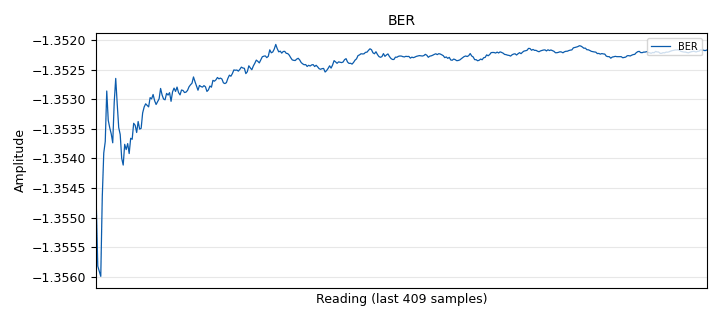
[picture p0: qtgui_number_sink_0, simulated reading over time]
options:
  parameters:
    author: AA
    category: Custom
    description: gnuradio flow graph
    generate_options: qt_gui
    id: viterbi_equalization
    output_language: python
    title: Viterbi Equalization
  states: {}

blocks:
- name: Es
  id: variable
  parameters:
    value: numpy.mean((numpy.square(numpy.abs(tot_mod[1]))))
  states: {}
- name: EsN0_dB
  id: variable_qtgui_range
  parameters:
    label: Es/N0 (dB)
    orient: QtCore.Qt.Orientation.Horizontal
    start: '-10'
    step: '1'
    stop: '30'
    value: '2'
  states: {}
- name: R
  id: variable
  parameters:
    value: 100e3
  states: {}
- name: block
  id: variable
  parameters:
    value: bpsym*1000
  states: {}
- name: bpsym
  id: variable
  parameters:
    value: int(round(math.log(fsm.I())/math.log(2)))
  states: {}
- name: channel
  id: variable
  parameters:
    value: fu.c_channel
  states: {}
- name: fsm
  id: variable
  parameters:
    value: trellis.fsm(len(modulation[1]),len(channel))
  states: {}
- name: modulation
  id: variable
  parameters:
    value: fu.pam4
  states: {}
- name: noisevar
  id: variable
  parameters:
    value: 10**(-EsN0_dB/10.0)  * Es   /2.0
  states: {}
- name: tot_mod
  id: variable
  parameters:
    value: fu.make_isi_lookup(modulation,channel,False)
  states: {}
- name: analog_noise_source_x_0
  id: analog_noise_source_x
  parameters:
    amp: noisevar**0.5
    noise_type: analog.GR_GAUSSIAN
    seed: '-42'
    type: float
  states: {}
- name: analog_random_source_x_0
  id: analog_random_source_x
  parameters:
    max: '2'
    min: '0'
    num_samps: '1007'
    repeat: 'True'
    type: byte
  states: {}
- name: blocks_add_xx_1
  id: blocks_add_xx
  parameters:
    type: float
  states: {}
- name: blocks_null_sink_1
  id: blocks_null_sink
  parameters:
    type: float
  states: {}
- name: blocks_pack_k_bits_bb_0
  id: blocks_pack_k_bits_bb
  parameters:
    k: bpsym
  states: {}
- name: blocks_throttle_0
  id: blocks_throttle
  parameters:
    samples_per_second: R
    type: byte
  states: {}
- name: blocks_unpack_k_bits_bb_0
  id: blocks_unpack_k_bits_bb
  parameters:
    k: bpsym
  states: {}
- name: digital_chunks_to_symbols_xx_0
  id: digital_chunks_to_symbols_xx
  parameters:
    dimension: tot_mod[0]
    in_type: short
    out_type: float
    symbol_table: tot_mod[1]
  states: {state: disabled}
- name: digital_chunks_to_symbols_xx_0_0
  id: digital_chunks_to_symbols_xx
  parameters:
    dimension: modulation[0]
    in_type: byte
    out_type: float
    symbol_table: modulation[1]
  states: {}
- name: fec_ber_bf_0
  id: fec_ber_bf
  parameters:
    test_mode: 'False'
  states: {}
- name: fir_filter_xxx_0
  id: fir_filter_xxx
  parameters:
    decim: '1'
    taps: fu.c_channel
    type: fff
  states: {}
- name: import_0
  id: import
  parameters:
    imports: import numpy
  states: {}
- name: import_0_0
  id: import
  parameters:
    imports: import gnuradio.trellis.fsm_utils as fu
  states: {}
- name: import_0_1
  id: import
  parameters:
    imports: import math
  states: {}
- name: note_0
  id: note
  parameters:
    note: Substititue the metrics/Viterbi block with Viterbi_combo
  states: {}
- name: qtgui_number_sink_0
  id: qtgui_number_sink
  parameters:
    graph_type: qtgui.NUM_GRAPH_HORIZ
    label1: BER
    min: '0'
    name: '"BER"'
    type: float
  states: {}
- name: trellis_encoder_xx_0
  id: trellis_encoder_xx
  parameters:
    fsm_args: fsm
    init_state: '0'
    type: bs
  states: {state: disabled}
- name: trellis_metrics_x_0
  id: trellis_metrics_x
  parameters:
    card: fsm.O()
    dim: tot_mod[0]
    metric_type: digital.TRELLIS_EUCLIDEAN
    table: tot_mod[1]
    type: f
  states: {state: disabled}
- name: trellis_viterbi_combined_xx_0
  id: trellis_viterbi_combined_xx
  parameters:
    block_size: block//bpsym
    dim: tot_mod[0]
    final_state: '-1'
    fsm_args: fsm
    init_state: '-1'
    metric_type: digital.TRELLIS_EUCLIDEAN
    out_type: b
    table: tot_mod[1]
    type: f
  states: {}
- name: trellis_viterbi_x_0
  id: trellis_viterbi_x
  parameters:
    block_size: block//bpsym
    final_state: '-1'
    fsm_args: fsm
    init_state: '-1'
    type: b
  states: {state: disabled}
- name: virtual_sink_0
  id: virtual_sink
  parameters:
    stream_id: observation
  states: {}
- name: virtual_sink_0_0
  id: virtual_sink
  parameters:
    stream_id: info
  states: {}
- name: virtual_source_0
  id: virtual_source
  parameters:
    stream_id: observation
  states: {}
- name: virtual_source_0_0
  id: virtual_source
  parameters:
    stream_id: info
  states: {}

connections:
- [analog_noise_source_x_0, '0', blocks_add_xx_1, '1']
- [analog_random_source_x_0, '0', blocks_throttle_0, '0']
- [analog_random_source_x_0, '0', virtual_sink_0_0, '0']
- [blocks_add_xx_1, '0', blocks_null_sink_1, '0']
- [blocks_add_xx_1, '0', virtual_sink_0, '0']
- [blocks_pack_k_bits_bb_0, '0', digital_chunks_to_symbols_xx_0_0, '0']
- [blocks_pack_k_bits_bb_0, '0', trellis_encoder_xx_0, '0']
- [blocks_throttle_0, '0', blocks_pack_k_bits_bb_0, '0']
- [blocks_unpack_k_bits_bb_0, '0', fec_ber_bf_0, '0']
- [digital_chunks_to_symbols_xx_0, '0', blocks_add_xx_1, '0']
- [digital_chunks_to_symbols_xx_0_0, '0', fir_filter_xxx_0, '0']
- [fec_ber_bf_0, '0', qtgui_number_sink_0, '0']
- [fir_filter_xxx_0, '0', blocks_add_xx_1, '0']
- [trellis_encoder_xx_0, '0', digital_chunks_to_symbols_xx_0, '0']
- [trellis_metrics_x_0, '0', trellis_viterbi_x_0, '0']
- [trellis_viterbi_combined_xx_0, '0', blocks_unpack_k_bits_bb_0, '0']
- [trellis_viterbi_x_0, '0', blocks_unpack_k_bits_bb_0, '0']
- [virtual_source_0, '0', trellis_metrics_x_0, '0']
- [virtual_source_0, '0', trellis_viterbi_combined_xx_0, '0']
- [virtual_source_0_0, '0', fec_ber_bf_0, '1']

metadata:
  file_format: 1
  grc_version: v3.11.0.0git-689-g85dee02b
